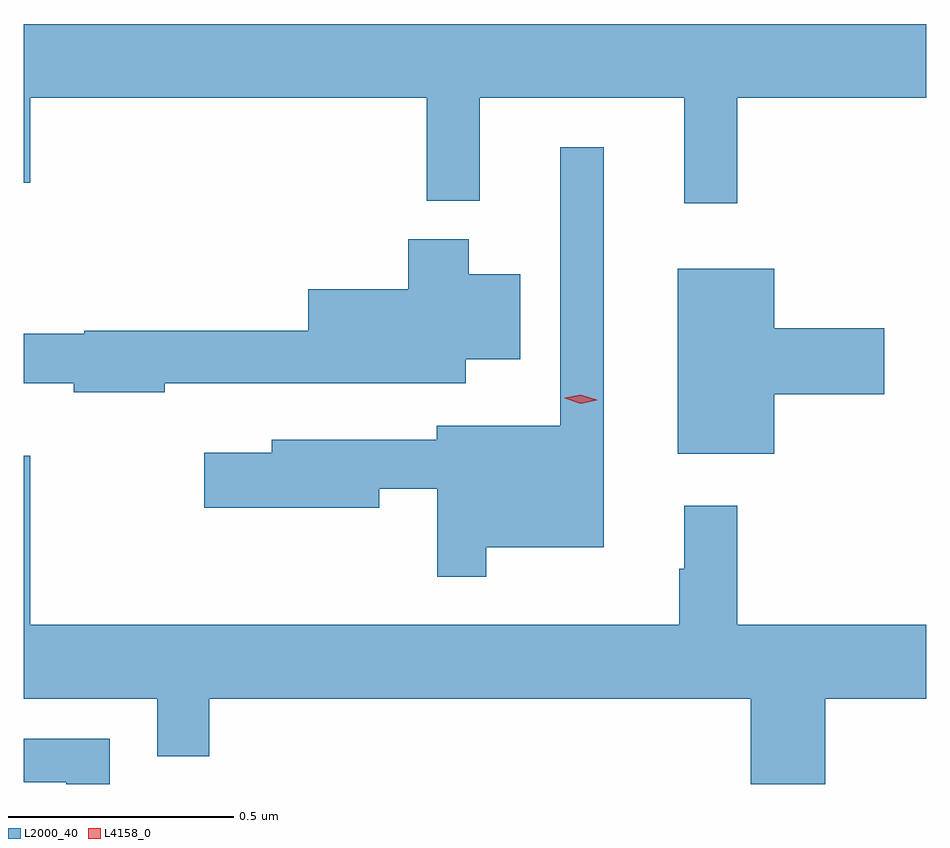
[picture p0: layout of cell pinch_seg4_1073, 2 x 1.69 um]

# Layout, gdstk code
import gdstk
lib = gdstk.Library(unit=1e-6, precision=1e-09)
def P(c, l, *ps):  # polygons
    for p in ps: c.add(gdstk.Polygon(p, *l))
L2000_40 = (2000, 40)
L4158_0 = (4158, 0)

pinch_seg4_1073 = lib.new_cell('pinch_seg4_1073')
P(pinch_seg4_1073, L2000_40, [(884.438,755.34),(884.452,755.34),(884.452,755.528),(885.331,755.528),(885.331,755.3),(885.449,755.3),(885.449,755.528),(885.902,755.528),(885.902,755.295),(886.019,755.295),(886.019,755.528),(886.438,755.528),(886.438,755.692),(884.438,755.692)],
  [(885.463,754.532),(885.724,754.532),(885.724,755.419),(885.627,755.419),(885.627,754.801),(885.353,754.801),(885.353,754.77),(884.987,754.77),(884.987,754.741),(884.838,754.741),(884.838,754.619),(885.226,754.619),(885.226,754.662),(885.354,754.662),(885.354,754.467),(885.463,754.467)],
  [(884.75,754.896),(885.172,754.896),(885.172,754.895),(885.418,754.895),(885.418,754.949),(885.538,754.949),(885.538,755.137),(885.424,755.137),(885.424,755.215),(885.29,755.215),(885.29,755.104),(885.068,755.104),(885.068,755.012),(884.572,755.012),(884.572,755.005),(884.438,755.005),(884.438,754.895),(884.548,754.895),(884.548,754.876),(884.75,754.876)],
  [(886.102,754.871),(886.345,754.871),(886.345,755.018),(886.102,755.018),(886.102,755.149),(885.887,755.149),(885.887,754.739),(886.102,754.739)],
  [(886.214,754.196),(886.438,754.196),(886.438,754.36),(886.019,754.36),(886.019,754.624),(885.902,754.624),(885.902,754.484),(885.891,754.484),(885.891,754.36),(884.452,754.36),(884.452,754.735),(884.438,754.735),(884.438,754.196),(884.733,754.196),(884.733,754.069),(884.849,754.069),(884.849,754.196),(886.049,754.196),(886.049,754.007),(886.214,754.007)],
  [(884.628,754.107),(884.438,754.107),(884.438,754.011),(884.532,754.011),(884.532,754.007),(884.628,754.007)])
P(pinch_seg4_1073, L4158_0, [(885.672,754.85),(885.637,754.862),(885.637,754.863),(885.637,754.863),(885.673,754.87),(885.708,754.859),(885.708,754.858),(885.708,754.858)])

lib.write_gds('pinch_seg4_1073.gds')
